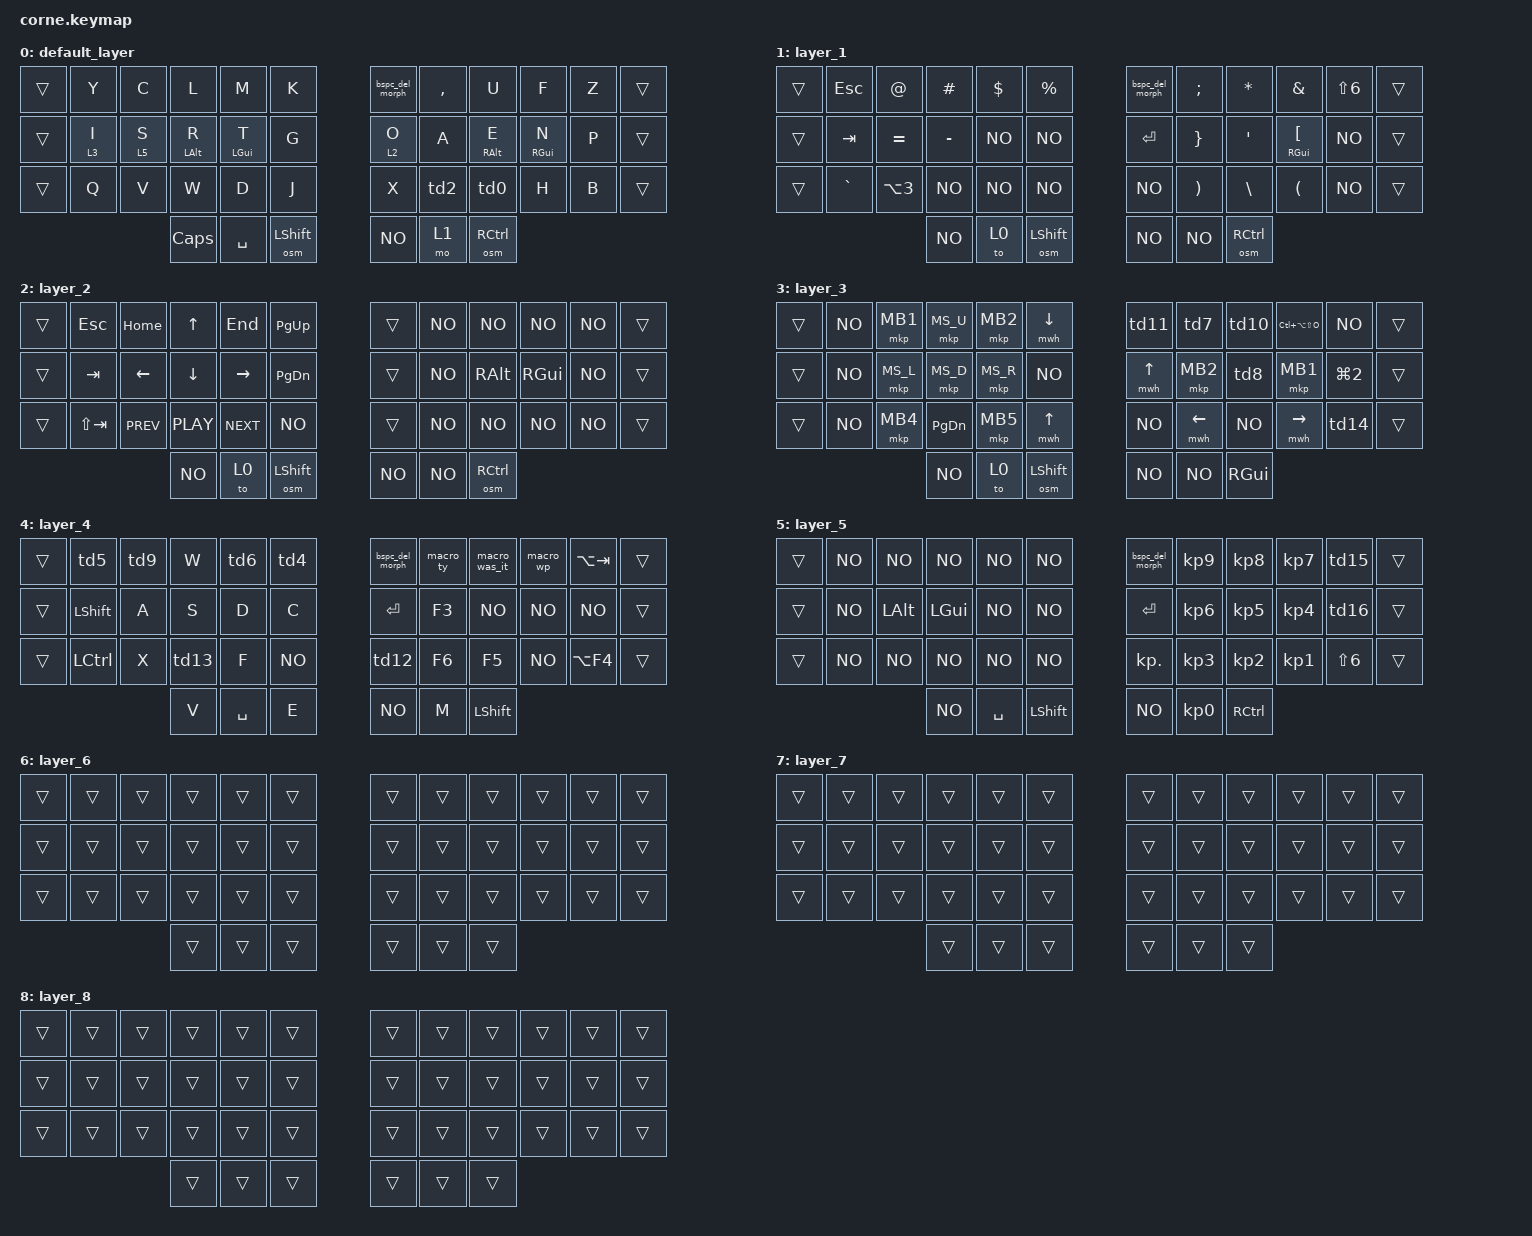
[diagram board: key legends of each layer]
/*
 * Copyright (c) 2024 The ZMK Contributors
 *
 * SPDX-License-Identifier: MIT
 *
 * This keymap is a translation of a Vial configuration from ee.vil,
 * adapted for the Corne keyboard layout. It includes multiple layers,
 * combos, tap-dances, and other advanced features.
 */

#include <behaviors.dtsi>
#include <dt-bindings/zmk/keys.h>

#include <dt-bindings/zmk/mouse.h>

// Note on MEH_T(KC_SPACE):
// The original Vial configuration uses MEH_T(KC_SPACE), which is a single key
// that sends Space on tap and (Left Ctrl + Left Shift + Left Alt) on hold.
// ZMK's standard mod-tap behavior (&mt) does not support multiple modifiers.
// A custom behavior would be required to replicate this exactly.
// For simplicity, it has been mapped to &kp SPACE in this keymap.

/ {
    behaviors {
        // Mod-Morph: Shift + Backspace -> Delete
        bspc_del_morph: bspc_del_morph {
            compatible = "zmk,behavior-mod-morph";
            #binding-cells = <0>;
            mods = <(MOD_LSFT | MOD_RSFT)>;
            bindings = <&kp DEL>, <&kp BSPC>;
        };

        // Tap-Dances
        td0: tap_dance_0 { compatible = "zmk,behavior-tap-dance"; #binding-cells = <0>; tapping-term-ms = <200>; bindings = <&kp FSLH>, <&kp UNDER>; };
        td1: tap_dance_1 { compatible = "zmk,behavior-tap-dance"; #binding-cells = <0>; tapping-term-ms = <200>; bindings = <&kp K_NO>, <&kp K_NO>; };
        td2: tap_dance_2 { compatible = "zmk,behavior-tap-dance"; #binding-cells = <0>; tapping-term-ms = <200>; bindings = <&kp DOT>, <&kp EXCL>; };
        td3: tap_dance_3 { compatible = "zmk,behavior-tap-dance"; #binding-cells = <0>; tapping-term-ms = <200>; bindings = <&kp K_NO>, <&kp K_NO>; };
        td4: tap_dance_4 { compatible = "zmk,behavior-tap-dance"; #binding-cells = <0>; tapping-term-ms = <200>; bindings = <&kp R>, <&kp B>; };
        td5: tap_dance_5 { compatible = "zmk,behavior-tap-dance"; #binding-cells = <0>; tapping-term-ms = <200>; bindings = <&kp N2>, <&kp ESC>; };
        td6: tap_dance_6 { compatible = "zmk,behavior-tap-dance"; #binding-cells = <0>; tapping-term-ms = <200>; bindings = <&kp N4>, <&kp N4>, <&kp N3>, <&kp N4>; };
        td7: tap_dance_7 { compatible = "zmk,behavior-tap-dance"; #binding-cells = <0>; tapping-term-ms = <200>; bindings = <&kp K_NO>, <&kp K_NO>; };
        td8: tap_dance_8 { compatible = "zmk,behavior-tap-dance"; #binding-cells = <0>; tapping-term-ms = <200>; bindings = <&kp K_NO>, <&kp K_NO>; };
        td9: tap_dance_9 { compatible = "zmk,behavior-tap-dance"; #binding-cells = <0>; tapping-term-ms = <200>; bindings = <&kp N1>, <&kp G>, <&kp N2>; };
        td10: tap_dance_10 { compatible = "zmk,behavior-tap-dance"; #binding-cells = <0>; tapping-term-ms = <200>; bindings = <&kp K_NO>, <&kp K_NO>; };
        td11: tap_dance_11 { compatible = "zmk,behavior-tap-dance"; #binding-cells = <0>; tapping-term-ms = <200>; bindings = <&kp K_NO>, <&kp K_NO>; };
        td12: tap_dance_12 { compatible = "zmk,behavior-tap-dance"; #binding-cells = <0>; tapping-term-ms = <200>; bindings = <&kp K_NO>, <&to 0>; };
        td13: tap_dance_13 { compatible = "zmk,behavior-tap-dance"; #binding-cells = <0>; tapping-term-ms = <200>; bindings = <&kp T>, <&kp TAB>; };
        // The first binding `0xb21` is not a standard HID keycode and has been replaced with &kp K_NO.
        td14: tap_dance_14 { compatible = "zmk,behavior-tap-dance"; #binding-cells = <0>; tapping-term-ms = <200>; bindings = <&kp K_NO>, <&kp LG(N5)>; };
        td15: tap_dance_15 { compatible = "zmk,behavior-tap-dance"; #binding-cells = <0>; tapping-term-ms = <200>; bindings = <&kp MINUS>, <&kp KP_SLASH>; };
        td16: tap_dance_16 { compatible = "zmk,behavior-tap-dance"; #binding-cells = <0>; tapping-term-ms = <200>; bindings = <&kp KP_PLUS>, <&kp KP_ASTERISK>; };
    };

    macros {
        macro_wp: macro_wp {
            compatible = "zmk,behavior-macro";
            #binding-cells = <0>;
            bindings = <&macro_tap &kp W &kp P>;
        };
        macro_was_it: macro_was_it {
            compatible = "zmk,behavior-macro";
            #binding-cells = <0>;
            bindings = <&macro_tap &kp W &kp A &kp S &kp SPACE &kp I &kp T &kp QMARK>;
        };
        macro_ty: macro_ty {
            compatible = "zmk,behavior-macro";
            #binding-cells = <0>;
            bindings = <&macro_tap &kp T &kp Y>;
        };
    };

    combos {
        compatible = "zmk,combos";
        combo_tab { timeout-ms = <50>; key-positions = <13 14>; bindings = <&kp TAB>; }; // Q + V
        combo_del { timeout-ms = <50>; key-positions = <21 22>; bindings = <&kp DEL>; }; // BSPC + ,
        combo_excl { timeout-ms = <50>; key-positions = <34 36>; bindings = <&kp EXCL>; }; // . + H
        combo_esc { timeout-ms = <50>; key-positions = <1 2>; bindings = <&kp ESC>; };   // Y + C
        combo_under { timeout-ms = <50>; key-positions = <24 22>; bindings = <&kp UNDER>; }; // F + ,
        combo_ralt_del { timeout-ms = <50>; key-positions = <23 22 21>; bindings = <&kp RA(DEL)>; }; // U + , + BSPC
        combo_ralt_bspc { timeout-ms = <50>; key-positions = <23 21>; bindings = <&kp RA(BSPC)>; };// U + BSPC
        combo_ret { timeout-ms = <50>; key-positions = <36 35>; bindings = <&kp RET>; };   // H + /
        combo_minus { timeout-ms = <50>; key-positions = <24 23>; bindings = <&kp MINUS>; }; // F + U
    };

    keymap {
        compatible = "zmk,keymap";

        default_layer {
            bindings = <
&trans  &kp Y           &kp C           &kp L           &kp M           &kp K           &bspc_del_morph &kp COMMA       &kp U           &kp F           &kp Z           &trans
&trans  &lt 3 I         &lt 5 S         &mt LALT R      &mt LGUI T      &kp G           &lt 2 O         &kp A           &mt RALT E      &mt RGUI N      &kp P           &trans
&trans  &kp Q           &kp V           &kp W           &kp D           &kp J           &kp X           &td2            &td0            &kp H           &kp B           &trans
                                &kp CAPS        &kp SPACE       &osm LSHFT                      &kp K_NO        &mo 1           &osm RCTRL
            >;
        };

        layer_1 { // Symbols
            bindings = <
&trans  &kp ESC         &kp AT          &kp HASH        &kp DLLR        &kp PRCNT       &bspc_del_morph &kp SCLN        &kp ASTRK       &kp AMPS        &kp LS(N6)      &trans
&trans  &kp TAB         &kp EQUAL       &kp MINUS       &kp K_NO        &kp K_NO        &kp RET         &kp RBRC        &kp SQT         &mt RGUI LBKT   &kp K_NO        &trans
&trans  &kp GRAVE       &kp LA(N3)      &kp K_NO        &kp K_NO        &kp K_NO        &kp K_NO        &kp RPAR        &kp BSLH        &kp LPAR        &kp K_NO        &trans
                                &kp K_NO        &to 0           &osm LSHFT                      &kp K_NO        &kp K_NO        &osm RCTRL
            >;
        };

        layer_2 { // Navigation
            bindings = <
&trans  &kp ESC         &kp HOME        &kp UP          &kp END         &kp PG_UP       &trans          &kp K_NO        &kp K_NO        &kp K_NO        &kp K_NO        &trans
&trans  &kp TAB         &kp LEFT        &kp DOWN        &kp RIGHT       &kp PG_DN       &trans          &kp K_NO        &kp RALT        &kp RGUI        &kp K_NO        &trans
&trans  &kp LS(TAB)     &kp C_PREV      &kp C_PLAY      &kp C_NEXT      &kp K_NO        &trans          &kp K_NO        &kp K_NO        &kp K_NO        &kp K_NO        &trans
                                &kp K_NO        &to 0           &osm LSHFT                      &kp K_NO        &kp K_NO        &osm RCTRL
            >;
        };

        layer_3 { // Mouse
            bindings = <
&trans  &kp K_NO        &mkp MB1        &mkp MS_U       &mkp MB2        &mwh DOWN       &td11           &td7            &td10           &kp LC(LA(LS(O))) &kp K_NO      &trans
&trans  &kp K_NO        &mkp MS_L       &mkp MS_D       &mkp MS_R       &kp K_NO        &mwh UP         &mkp MB2        &td8            &mkp MB1        &kp LG(N2)      &trans
&trans  &kp K_NO        &mkp MB4        &kp PG_DN       &mkp MB5        &mwh UP         &kp K_NO        &mwh LEFT       &kp K_NO        &mwh RIGHT      &td14         &trans
                                &kp K_NO        &to 0           &osm LSHFT                      &kp K_NO        &kp K_NO        &kp RGUI
            >;
        };

        layer_4 { // Alt layout
            bindings = <
&trans  &td5            &td9            &kp W           &td6            &td4            &bspc_del_morph &macro_ty       &macro_was_it   &macro_wp       &kp LA(TAB)     &trans
&trans  &kp LSHFT       &kp A           &kp S           &kp D           &kp C           &kp RET         &kp F3          &kp K_NO        &kp K_NO        &kp K_NO        &trans
&trans  &kp LCTRL       &kp X           &td13           &kp F           &kp K_NO        &td12           &kp F6          &kp F5          &kp K_NO        &kp LA(F4)      &trans
                                &kp V           &kp SPACE       &kp E                           &kp K_NO        &kp M           &kp LSHFT
            >;
        };

        layer_5 { // Numpad
            bindings = <
&trans  &kp K_NO        &kp K_NO        &kp K_NO        &kp K_NO        &kp K_NO        &bspc_del_morph &kp KP_N9       &kp KP_N8       &kp KP_N7       &td15           &trans
&trans  &kp K_NO        &kp LALT        &kp LGUI        &kp K_NO        &kp K_NO        &kp RET         &kp KP_N6       &kp KP_N5       &kp KP_N4       &td16           &trans
&trans  &kp K_NO        &kp K_NO        &kp K_NO        &kp K_NO        &kp K_NO        &kp KP_DOT      &kp KP_N3       &kp KP_N2       &kp KP_N1       &kp LS(N6)      &trans
                                &kp K_NO        &kp SPACE       &kp LSHFT                       &kp K_NO        &kp KP_N0       &kp RCTRL
            >;
        };

        layer_6 { bindings = < &trans &trans &trans &trans &trans &trans  &trans &trans &trans &trans &trans &trans &trans &trans &trans &trans &trans &trans  &trans &trans &trans &trans &trans &trans &trans &trans &trans &trans &trans &trans  &trans &trans &trans &trans &trans &trans &trans &trans &trans &trans &trans &trans >; };
        layer_7 { bindings = < &trans &trans &trans &trans &trans &trans  &trans &trans &trans &trans &trans &trans &trans &trans &trans &trans &trans &trans  &trans &trans &trans &trans &trans &trans &trans &trans &trans &trans &trans &trans  &trans &trans &trans &trans &trans &trans &trans &trans &trans &trans &trans &trans >; };
        layer_8 { bindings = < &trans &trans &trans &trans &trans &trans  &trans &trans &trans &trans &trans &trans &trans &trans &trans &trans &trans &trans  &trans &trans &trans &trans &trans &trans &trans &trans &trans &trans &trans &trans  &trans &trans &trans &trans &trans &trans &trans &trans &trans &trans &trans &trans >; };

    };
};
